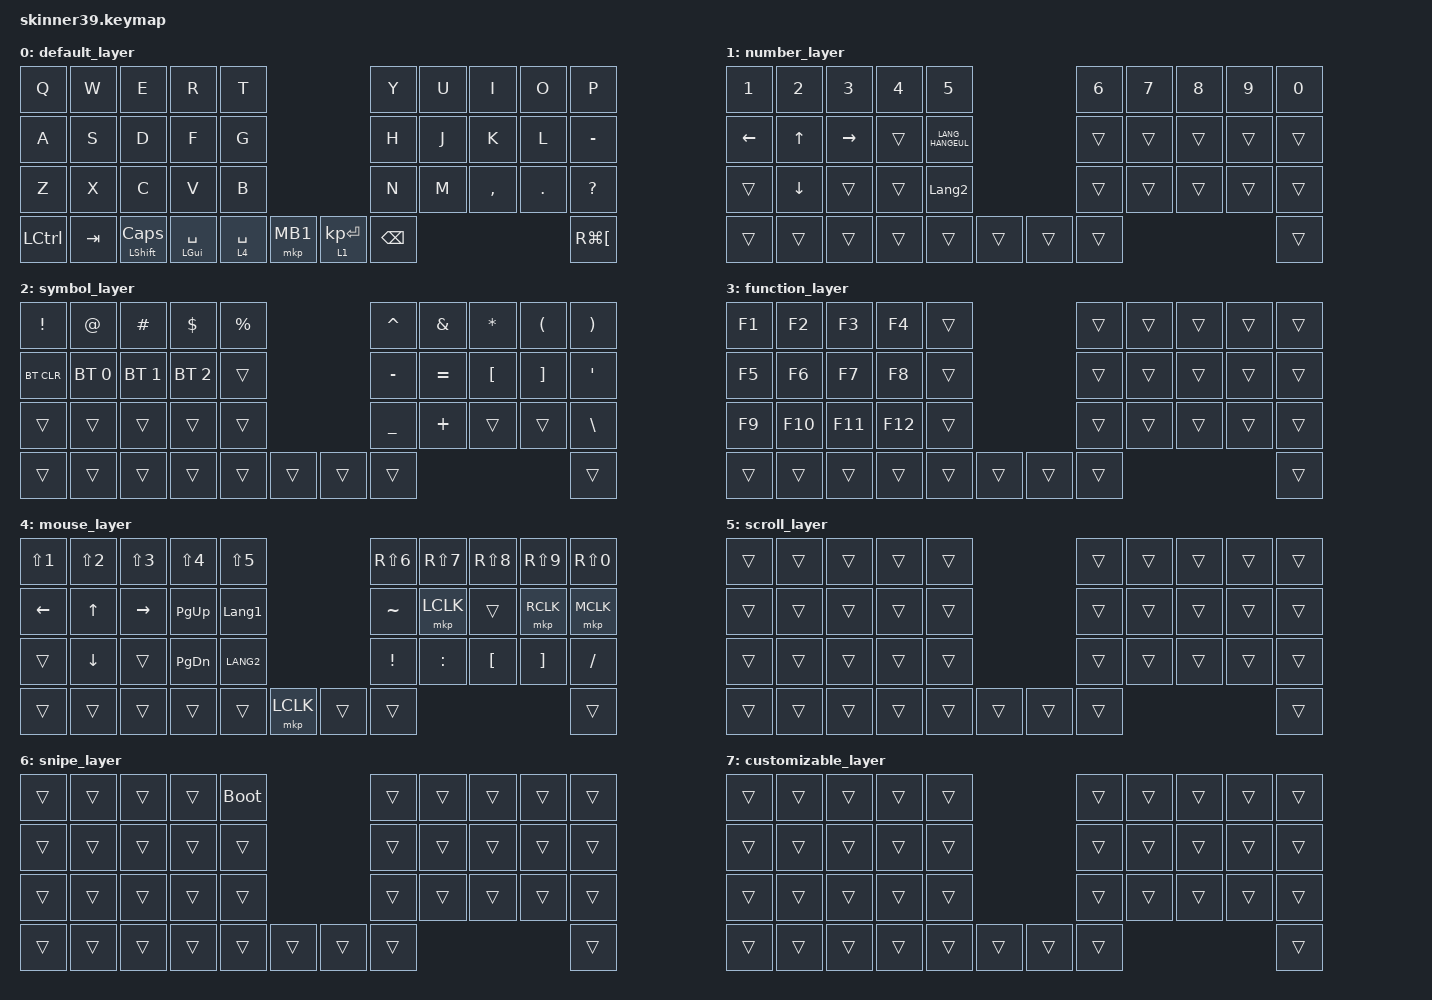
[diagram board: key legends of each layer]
#include <behaviors.dtsi>
#include <dt-bindings/zmk/bt.h>
#include <dt-bindings/zmk/keys.h>
#include <dt-bindings/zmk/pointing.h>

/ {
    keymap {
        compatible = "zmk,keymap";

        default_layer {
            bindings = <
  &kp Q      &kp W    &kp E                &kp R           &kp T                                  &kp Y     &kp U  &kp I      &kp O       &kp P
  &kp A      &kp S    &kp D                &kp F           &kp G                                  &kp H     &kp J  &kp K      &kp L       &kp MINUS
  &kp Z      &kp X    &kp C                &kp V           &kp B                                  &kp N     &kp M  &kp COMMA  &kp PERIOD  &kp QUESTION
  &kp LCTRL  &kp TAB  &mt LEFT_SHIFT CAPS  &mt LGUI SPACE  &lt 4 SPACE  &mkp MB1  &lt 1 KP_ENTER  &kp BSPC                                &kp RG(LEFT_BRACKET)
            >;
        };

        number_layer {
            bindings = <
  &kp NUMBER_1    &kp NUMBER_2    &kp NUMBER_3  &kp NUMBER_4  &kp NUMBER_5                      &kp NUMBER_6  &kp NUMBER_7  &kp NUMBER_8  &kp NUMBER_9  &kp NUMBER_0
  &kp LEFT_ARROW  &kp UP_ARROW    &kp RIGHT     &trans        &kp LANG_HANGEUL                  &trans        &trans        &trans        &trans        &trans
  &trans          &kp DOWN_ARROW  &trans        &trans        &kp LANGUAGE_2                    &trans        &trans        &trans        &trans        &trans
  &trans          &trans          &trans        &trans        &trans            &trans  &trans  &trans                                                  &trans
            >;
        };

        symbol_layer {
            bindings = <
  &kp EXCLAMATION  &kp AT_SIGN   &kp HASH      &kp DOLLAR    &kp PERCENT                  &kp CARET       &kp AMPERSAND  &kp ASTERISK      &kp LEFT_PARENTHESIS  &kp RIGHT_PARENTHESIS
  &bt BT_CLR       &bt BT_SEL 0  &bt BT_SEL 1  &bt BT_SEL 2  &trans                       &kp MINUS       &kp EQUAL      &kp LEFT_BRACKET  &kp RIGHT_BRACKET     &kp SQT
  &trans           &trans        &trans        &trans        &trans                       &kp UNDERSCORE  &kp PLUS       &trans            &trans                &kp BACKSLASH
  &trans           &trans        &trans        &trans        &trans       &trans  &trans  &trans                                                                 &trans
            >;
        };

        function_layer {
            bindings = <
  &kp F1  &kp F2   &kp F3   &kp F4   &trans                  &trans  &trans  &trans  &trans  &trans
  &kp F5  &kp F6   &kp F7   &kp F8   &trans                  &trans  &trans  &trans  &trans  &trans
  &kp F9  &kp F10  &kp F11  &kp F12  &trans                  &trans  &trans  &trans  &trans  &trans
  &trans  &trans   &trans   &trans   &trans  &trans  &trans  &trans                          &trans
            >;
        };

        mouse_layer {
            bindings = <
  &kp LS(N1)      &kp LS(N2)      &kp LS(N3)       &kp LS(N4)     &kp LS(N5)                         &kp RS(N6)       &kp RS(N7)  &kp RS(N8)        &kp RS(N9)         &kp RS(N0)
  &kp LEFT_ARROW  &kp UP_ARROW    &kp RIGHT_ARROW  &kp PAGE_UP    &kp LANGUAGE_1                     &kp TILDE        &mkp LCLK   &trans            &mkp RCLK          &mkp MCLK
  &trans          &kp DOWN_ARROW  &trans           &kp PAGE_DOWN  &kp LANG2                          &kp EXCLAMATION  &kp COLON   &kp LEFT_BRACKET  &kp RIGHT_BRACKET  &kp SLASH
  &trans          &trans          &trans           &trans         &trans          &mkp LCLK  &trans  &trans                                                            &trans
            >;
        };

        scroll_layer {
            bindings = <
  &trans  &trans  &trans  &trans  &trans                  &trans  &trans  &trans  &trans  &trans
  &trans  &trans  &trans  &trans  &trans                  &trans  &trans  &trans  &trans  &trans
  &trans  &trans  &trans  &trans  &trans                  &trans  &trans  &trans  &trans  &trans
  &trans  &trans  &trans  &trans  &trans  &trans  &trans  &trans                          &trans
            >;
        };

        snipe_layer {
            bindings = <
  &trans  &trans  &trans  &trans  &bootloader                  &trans  &trans  &trans  &trans  &trans
  &trans  &trans  &trans  &trans  &trans                       &trans  &trans  &trans  &trans  &trans
  &trans  &trans  &trans  &trans  &trans                       &trans  &trans  &trans  &trans  &trans
  &trans  &trans  &trans  &trans  &trans       &trans  &trans  &trans                          &trans
            >;
        };

        customizable_layer {
            bindings = <
  &trans  &trans  &trans  &trans  &trans                  &trans  &trans  &trans  &trans  &trans
  &trans  &trans  &trans  &trans  &trans                  &trans  &trans  &trans  &trans  &trans
  &trans  &trans  &trans  &trans  &trans                  &trans  &trans  &trans  &trans  &trans
  &trans  &trans  &trans  &trans  &trans  &trans  &trans  &trans                          &trans
            >;
        };
    };
};
